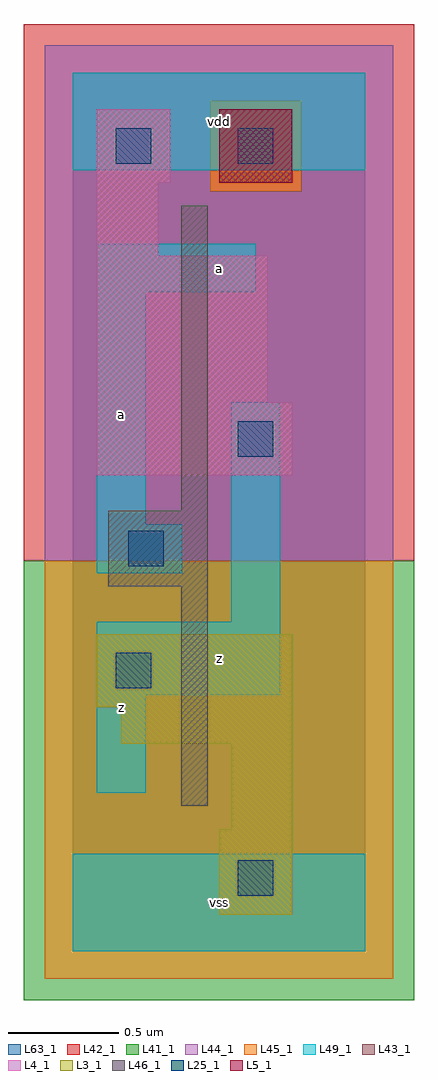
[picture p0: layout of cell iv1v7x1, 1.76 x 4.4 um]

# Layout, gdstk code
import gdstk
lib = gdstk.Library(unit=1e-6, precision=1e-09)
def R(c, l, rs):  # rectangles x0, y0, x1, y1
    for r in rs: c.add(gdstk.rectangle(r[:2], r[2:], *l))
L3_1 = (3, 1)
L4_1 = (4, 1)
L5_1 = (5, 1)
L25_1 = (25, 1)
L41_1 = (41, 1)
L42_1 = (42, 1)
L43_1 = (43, 1)
L44_1 = (44, 1)
L45_1 = (45, 1)
L46_1 = (46, 1)
L49_1 = (49, 1)
L63_1 = (63, 1)

iv1v7x1 = lib.new_cell('iv1v7x1')
R(iv1v7x1, L3_1, [(0.66,0.165,0.99,0.55), (0.715,0.55,0.99,0.935), (0.22,0.935,0.99,1.1), (0.11,1.1,0.99,1.43)])
R(iv1v7x1, L4_1, [(0.11,2.145,0.99,2.475), (0.11,2.475,0.88,3.135), (0.11,3.135,0.385,3.465), (0.11,3.465,0.44,3.795)])
R(iv1v7x1, L5_1, [(0.66,3.465,0.99,3.795)])
R(iv1v7x1, L25_1, [(0.745,0.25,0.905,0.41), (0.195,1.185,0.355,1.345), (0.25,1.735,0.41,1.895), (0.745,2.23,0.905,2.39), (0.195,3.55,0.355,3.71), (0.745,3.55,0.905,3.71)])
R(iv1v7x1, L41_1, [(-0.22,-0.22,1.54,1.76)])
R(iv1v7x1, L42_1, [(-0.22,1.76,1.54,4.18)])
R(iv1v7x1, L43_1, [(0.66,0.165,0.99,0.55), (0.715,0.55,0.99,0.935), (0.22,0.935,0.99,1.1), (0.11,1.1,0.99,1.43), (0.11,2.145,0.99,2.475), (0.11,2.475,0.88,3.135), (0.11,3.135,0.385,3.465), (0.11,3.465,0.44,3.795), (0.66,3.465,0.99,3.795)])
R(iv1v7x1, L44_1, [(-0.125,1.76,1.445,3.425), (-0.125,3.425,0.62,3.835), (1.03,3.425,1.445,3.835), (-0.125,3.835,1.445,4.085)])
R(iv1v7x1, L45_1, [(-0.125,-0.125,1.445,1.76), (0.62,3.425,1.03,3.835)])
R(iv1v7x1, L46_1, [(0.49,0.655,0.61,1.645), (0.16,1.645,0.61,1.985), (0.49,1.985,0.61,3.36)])
R(iv1v7x1, L49_1, [(0,0,1.32,0.44), (0.11,0.715,0.33,1.155), (0.11,1.155,0.935,1.485), (0.715,1.485,0.935,2.475), (0.11,1.705,0.495,1.925), (0.11,1.925,0.33,2.97), (0.11,2.97,0.825,3.19), (0,3.52,1.32,3.96)])
R(iv1v7x1, L63_1, [(0,0,1.32,3.96)])
iv1v7x1.add(gdstk.Label('z', (0.22,1.1), layer=49, texttype=1))
iv1v7x1.add(gdstk.Label('a', (0.22,2.42), layer=49, texttype=1))
iv1v7x1.add(gdstk.Label('vss', (0.66,0.22), layer=49, texttype=1))
iv1v7x1.add(gdstk.Label('z', (0.66,1.32), layer=49, texttype=1))
iv1v7x1.add(gdstk.Label('a', (0.66,3.08), layer=49, texttype=1))
iv1v7x1.add(gdstk.Label('vdd', (0.66,3.74), layer=49, texttype=1))

lib.write_gds('iv1v7x1.gds')
